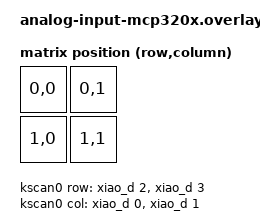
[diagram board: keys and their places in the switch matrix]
#include <dt-bindings/zmk/matrix_transform.h>

/ {
    kscan0: kscan0 {
        compatible = "zmk,kscan-gpio-matrix";
        diode-direction = "col2row";
        wakeup-source;

        col-gpios
            = <&xiao_d 0 GPIO_ACTIVE_HIGH>
            , <&xiao_d 1 GPIO_ACTIVE_HIGH>
            ;

        row-gpios
            = <&xiao_d 2 (GPIO_ACTIVE_HIGH | GPIO_PULL_DOWN)>
            , <&xiao_d 3 (GPIO_ACTIVE_HIGH | GPIO_PULL_DOWN)>
            ;
    };

    default_transform: keymap_transform0 {
        compatible = "zmk,matrix-transform";
        columns = <2>;
        rows = <2>;
        map = <
            RC(0,0) RC(0,1)
            RC(1,0) RC(1,1)
        >;
    };

    chosen {
        zmk,kscan = &kscan0;
        zmk,matrix_transform = &default_transform;
    };
};

// --------------------------------------------
// mcp3204
// --------------------------------------------
&pinctrl {
    spi0_default: spi0_default {
        group1 {
            psels = <NRF_PSEL(SPIM_SCK,  0,  5)>,   // SCK:  P0.05 (D5)
                    <NRF_PSEL(SPIM_MOSI, 0,  4)>,   // MOSI: P0.04 (D4)
                    <NRF_PSEL(SPIM_MISO, 0, 29)>;   // MISO: P0.29 (D3)
        };
    };

    spi0_sleep: spi0_sleep {
        group1 {
            psels = <NRF_PSEL(SPIM_SCK,  0,  5)>,   // SCK:  P0.05 (D5)
                    <NRF_PSEL(SPIM_MOSI, 0,  4)>,   // MOSI: P0.04 (D4)
                    <NRF_PSEL(SPIM_MISO, 0, 29)>;   // MISO: P0.29 (D3)
            low-power-enable;
        };
    };
};

&spi0 {
    compatible = "nordic,nrf-spim";
    status = "okay";
    pinctrl-0 = <&spi0_default>;
    pinctrl-1 = <&spi0_sleep>;
    pinctrl-names = "default", "sleep";
    cs-gpios = <&xiao_d 10 GPIO_ACTIVE_LOW>;         // /CS: P1.15 (D10)

    adc_mcp: mcp3204@0 {
        compatible = "microchip,mcp3204";
        reg = <0x0>;
        spi-max-frequency = <400000>;  // ok
     // spi-max-frequency = <100000>;  // NG
        #io-channel-cells = <1>;
     // duplex = <0>;        // 0: full-duplex, 2048: half-duplex (but mcp320x support full-duplex only)
    };

};

// --------------------------------------------
// zmk-analog-input-driver
// --------------------------------------------
#include <zephyr/dt-bindings/input/input-event-codes.h>
/* Reference: https://docs.zephyrproject.org/apidoc/latest/group__input__events.html */

#include <input/processors.dtsi>
#include <dt-bindings/zmk/input_transform.h>

&adc {
    status = "okay";
};

/ {
    ain0: analog_input_0 {
        compatible = "zmk,analog-input";
        status = "okay";
        sampling-hz = <100>;
        adc-mcp320x-vref-mv = <3300>;       // vref [mV] for mcp320x (not required for internal-adcs)

        x-ch {
            io-channels = <&adc_mcp 0>;     // <--- &adc_mcp 0: mcp320x #1 ch0
            mv-mid = <10063>;
            mv-min-max = <7000>;
            mv-deadzone = <200>;
            scale-multiplier = <1>;
            scale-divisor = <700>;
            invert;
            evt-type = <INPUT_EV_REL>;
            input-code = <INPUT_REL_X>;
        };

        y-ch {
            io-channels = <&adc_mcp 1>;     // <--- &adc_mcp 1: mcp320x #2 ch1
            mv-mid = <10347>;
            mv-min-max = <7000>;
            mv-deadzone = <200>;
            scale-multiplier = <1>;
            scale-divisor = <700>;
            // invert;
            evt-type = <INPUT_EV_REL>;
            input-code = <INPUT_REL_Y>;

            /* enable report mdoe for gamepad axix or knob */
            /* to only call input_report on quantquantized value is updated */
            /* NOTE: mouse input does NOT need this */
            // report-on-change-only;

        };
    };

    analog_input_listener {
        status = "okay";
        compatible = "zmk,input-listener";
        device = <&ain0>;
        // input-processors = <&zip_xy_to_scroll_mapper>;                    // acts as a scroll wheel
        input-processors = <&zip_xy_transform INPUT_TRANSFORM_Y_INVERT>;  // acts as a mouse
    };
};
